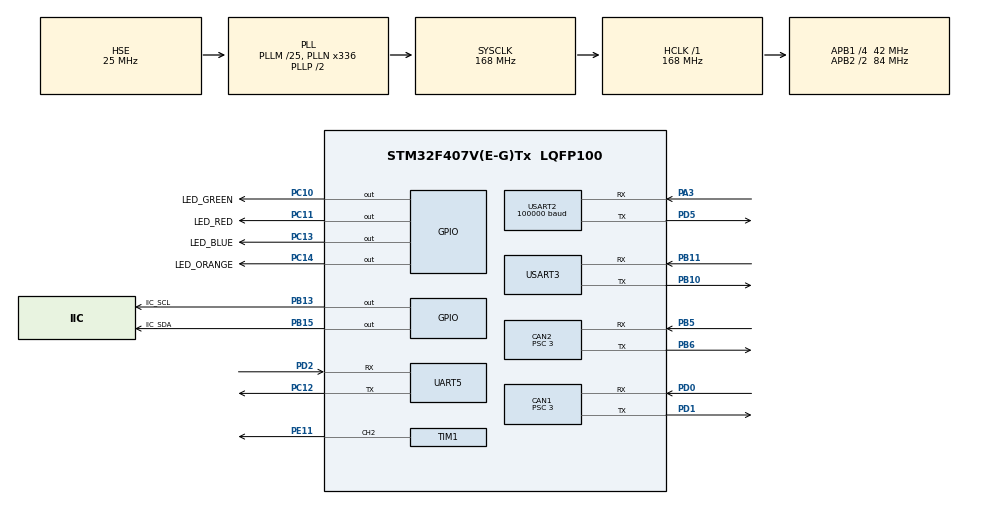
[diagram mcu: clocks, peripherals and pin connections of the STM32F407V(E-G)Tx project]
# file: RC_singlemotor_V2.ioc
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CAN1.BS1=CAN_BS1_9TQ
CAN1.BS2=CAN_BS2_4TQ
CAN1.CalculateBaudRate=1000000
CAN1.CalculateTimeBit=999.99
CAN1.CalculateTimeQuantum=71.42857142857143
CAN1.Prescaler=3
CAN1.TXFP=ENABLE
CAN2.BS1=CAN_BS1_9TQ
CAN2.BS2=CAN_BS2_4TQ
CAN2.CalculateBaudRate=1000000
CAN2.CalculateTimeBit=999.99
CAN2.CalculateTimeQuantum=71.42857142857143
CAN2.Prescaler=3
CAN2.SJW=CAN_SJW_1TQ
CAN2.TXFP=ENABLE
Dma.Request0=USART2_RX
Dma.Request1=UART5_RX
Dma.Request2=UART5_TX
Dma.UART5_RX.1.Direction=DMA_PERIPH_TO_MEMORY
Dma.UART5_RX.1.FIFOMode=DMA_FIFOMODE_DISABLE
Dma.UART5_RX.1.Instance=DMA1_Stream0
Dma.UART5_RX.1.MemDataAlignment=DMA_MDATAALIGN_BYTE
Dma.UART5_RX.1.MemInc=DMA_MINC_ENABLE
Dma.UART5_RX.1.Mode=DMA_CIRCULAR
Dma.UART5_RX.1.PeriphDataAlignment=DMA_PDATAALIGN_BYTE
Dma.UART5_RX.1.PeriphInc=DMA_PINC_DISABLE
Dma.UART5_RX.1.Priority=DMA_PRIORITY_LOW
Dma.UART5_TX.2.Direction=DMA_MEMORY_TO_PERIPH
Dma.UART5_TX.2.FIFOMode=DMA_FIFOMODE_DISABLE
Dma.UART5_TX.2.Instance=DMA1_Stream7
Dma.UART5_TX.2.MemDataAlignment=DMA_MDATAALIGN_BYTE
Dma.UART5_TX.2.MemInc=DMA_MINC_ENABLE
Dma.UART5_TX.2.Mode=DMA_CIRCULAR
Dma.UART5_TX.2.PeriphDataAlignment=DMA_PDATAALIGN_BYTE
Dma.UART5_TX.2.PeriphInc=DMA_PINC_DISABLE
Dma.UART5_TX.2.Priority=DMA_PRIORITY_LOW
Dma.USART2_RX.0.Direction=DMA_PERIPH_TO_MEMORY
Dma.USART2_RX.0.FIFOMode=DMA_FIFOMODE_DISABLE
Dma.USART2_RX.0.Instance=DMA1_Stream5
Dma.USART2_RX.0.MemDataAlignment=DMA_MDATAALIGN_BYTE
Dma.USART2_RX.0.MemInc=DMA_MINC_ENABLE
Dma.USART2_RX.0.Mode=DMA_CIRCULAR
Dma.USART2_RX.0.PeriphDataAlignment=DMA_PDATAALIGN_BYTE
Dma.USART2_RX.0.PeriphInc=DMA_PINC_DISABLE
Dma.USART2_RX.0.Priority=DMA_PRIORITY_VERY_HIGH
FREERTOS.Tasks01=defaultTask,24,512,StartDefaultTask,Default,NULL,Dynamic,NULL,NULL;LED,8,512,LED_Task,Default,NULL,Dynamic,NULL,NULL;heart_beat,32,512,heart_beat_task,Default,NULL,Dynamic,NULL,NULL;rc_control,32,3072,rc_control_task,Default,NULL,Dynamic,NULL,NULL
FREERTOS.configTOTAL_HEAP_SIZE=32000
Mcu.Family=STM32F4
Mcu.Name=STM32F407V(E-G)Tx
Mcu.Package=LQFP100
NVIC.CAN1_RX0_IRQn=true\:5\:0\:true\:false\:true\:false\:true\:true
NVIC.CAN2_RX0_IRQn=true\:5\:0\:true\:false\:true\:false\:true\:true
NVIC.DMA1_Stream0_IRQn=true\:5\:0\:false\:false\:true\:true\:false\:true
NVIC.DMA1_Stream5_IRQn=true\:5\:0\:true\:false\:true\:false\:false\:true
NVIC.DMA1_Stream7_IRQn=true\:5\:0\:false\:false\:true\:true\:false\:true
NVIC.PriorityGroup=NVIC_PRIORITYGROUP_4
NVIC.TIM2_IRQn=true\:0\:0\:false\:false\:true\:false\:false\:true
NVIC.TimeBase=TIM2_IRQn
NVIC.TimeBaseIP=TIM2
NVIC.UART5_IRQn=true\:5\:0\:false\:false\:true\:true\:true\:true
NVIC.USART2_IRQn=true\:5\:0\:true\:false\:true\:false\:true\:true
PA13.Mode=Serial_Wire
PA13.Signal=SYS_JTMS-SWDIO
PA14.Mode=Serial_Wire
PA14.Signal=SYS_JTCK-SWCLK
PA3.Mode=Asynchronous
PA3.Signal=USART2_RX
PB10.Mode=Asynchronous
PB10.Signal=USART3_TX
PB11.Mode=Asynchronous
PB11.Signal=USART3_RX
PB13.GPIO_Label=IIC_SCL
PB13.GPIO_Speed=GPIO_SPEED_FREQ_VERY_HIGH
PB13.PinState=GPIO_PIN_SET
PB13.Signal=GPIO_Output
PB15.GPIO_Label=IIC_SDA
PB15.GPIO_Speed=GPIO_SPEED_FREQ_VERY_HIGH
PB15.PinState=GPIO_PIN_SET
PB15.Signal=GPIO_Output
PB5.Mode=CAN_Activate
PB5.Signal=CAN2_RX
PB6.Mode=CAN_Activate
PB6.Signal=CAN2_TX
PC10.GPIO_Label=LED_GREEN
PC10.GPIO_Speed=GPIO_SPEED_FREQ_LOW
PC10.PinState=GPIO_PIN_SET
PC10.Signal=GPIO_Output
PC11.GPIO_Label=LED_RED
PC11.GPIO_Speed=GPIO_SPEED_FREQ_VERY_HIGH
PC11.PinState=GPIO_PIN_SET
PC11.Signal=GPIO_Output
PC12.Mode=Asynchronous
PC12.Signal=UART5_TX
PC13-ANTI_TAMP.GPIO_Label=LED_BLUE
PC13-ANTI_TAMP.PinState=GPIO_PIN_SET
PC13-ANTI_TAMP.Signal=GPIO_Output
PC14-OSC32_IN.GPIO_Label=LED_ORANGE
PC14-OSC32_IN.PinState=GPIO_PIN_SET
PC14-OSC32_IN.Signal=GPIO_Output
PD0.Mode=CAN_Activate
PD0.Signal=CAN1_RX
PD1.Mode=CAN_Activate
PD1.Signal=CAN1_TX
PD2.Mode=Asynchronous
PD2.Signal=UART5_RX
PD5.Mode=Asynchronous
PD5.Signal=USART2_TX
PE11.Signal=S_TIM1_CH2
PH0-OSC_IN.Mode=HSE-External-Oscillator
PH0-OSC_IN.Signal=RCC_OSC_IN
PH1-OSC_OUT.Mode=HSE-External-Oscillator
PH1-OSC_OUT.Signal=RCC_OSC_OUT
ProjectManager.HeapSize=0x200
ProjectManager.StackSize=0x400
ProjectManager.TargetToolchain=MDK-ARM V5.27
RCC.48MHZClocksFreq_Value=84000000
RCC.AHBFreq_Value=168000000
RCC.APB1CLKDivider=RCC_HCLK_DIV4
RCC.APB1Freq_Value=42000000
RCC.APB1TimFreq_Value=84000000
RCC.APB2CLKDivider=RCC_HCLK_DIV2
RCC.APB2Freq_Value=84000000
RCC.APB2TimFreq_Value=168000000
RCC.CortexFreq_Value=168000000
RCC.HCLKFreq_Value=168000000
RCC.HSE_VALUE=25000000
RCC.HSI_VALUE=16000000
RCC.LSE_VALUE=32768
RCC.PLLM=25
RCC.PLLN=336
RCC.PLLSourceVirtual=RCC_PLLSOURCE_HSE
RCC.SYSCLKFreq_VALUE=168000000
RCC.SYSCLKSource=RCC_SYSCLKSOURCE_PLLCLK
RCC.VCOOutputFreq_Value=336000000
SH.S_TIM1_CH2.0=TIM1_CH2,PWM Generation2 CH2
TIM1.AutoReloadPreload=TIM_AUTORELOAD_PRELOAD_ENABLE
TIM1.Channel-PWM\ Generation2\ CH2=TIM_CHANNEL_2
TIM1.Period=20000-1
TIM1.Prescaler=168-1
UART5.VirtualMode=Asynchronous
USART2.BaudRate=100000
USART2.VirtualMode=VM_ASYNC
USART3.VirtualMode=VM_ASYNC
VP_FREERTOS_VS_CMSIS_V2.Mode=CMSIS_V2
VP_SYS_VS_tim2.Mode=TIM2
VP_TIM1_VS_ClockSourceINT.Mode=Internal
board=custom

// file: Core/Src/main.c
/* USER CODE BEGIN Header */
/**
  ******************************************************************************
  * @file           : main.c
  * @brief          : Main program body
  ******************************************************************************
  * @attention
  *
  * <h2><center>&copy; Copyright (c) 2021 STMicroelectronics.
  * All rights reserved.</center></h2>
  *
  * This software component is licensed by ST under Ultimate Liberty license
  * SLA0044, the "License"; You may not use this file except in compliance with
  * the License. You may obtain a copy of the License at:
  *                             www.st.com/SLA0044
  *
  ******************************************************************************
  */
/* USER CODE END Header */
#include "main.h"
#include "cmsis_os.h"
#include "can.h"
#include "dma.h"
#include "tim.h"
#include "usart.h"
#include "gpio.h"

/* USER CODE BEGIN Includes */
#include "pid.h"
#include "rc.h"
#include "motor.h"
#include "bmi.h"
#include "bmi2.h"
#include "judge_sensor.h"
#include "flash.h"
/* USER CODE END Includes */

void SystemClock_Config(void);
void MX_FREERTOS_Init(void);

int main(void)
{

  /* MCU Configuration--------------------------------------------------------*/

  /* Reset of all peripherals, Initializes the Flash interface and the Systick. */
  HAL_Init();

  /* Configure the system clock */
  SystemClock_Config();

  /* Initialize all configured peripherals */
  MX_GPIO_Init();
  MX_DMA_Init();
  MX_USART2_UART_Init();
  MX_CAN1_Init();
  MX_CAN2_Init();
  MX_TIM1_Init();
  MX_UART5_Init();
  MX_USART3_UART_Init();
  /* USER CODE BEGIN 2 */
    CAN1_Init();
    CAN2_Init();
    USART2_Init();
    USART5_Init();
    HAL_TIM_PWM_Start(&htim1,TIM_CHANNEL_2);
    rc_sensor.init(&rc_sensor);
    judge_sensor.init(&judge_sensor);
    Flash_Init();
    HAL_Delay(500);
//    while(BMI_Init() != BMI2_OK);
  /* USER CODE END 2 */

  /* Init scheduler */
  osKernelInitialize();  /* Call init function for freertos objects (in freertos.c) */
  MX_FREERTOS_Init();
  /* Start scheduler */
  osKernelStart();

  /* We should never get here as control is now taken by the scheduler */
  /* Infinite loop */
  while (1)
  {

  }
}

void SystemClock_Config(void)
{
  RCC_OscInitTypeDef RCC_OscInitStruct = {0};
  RCC_ClkInitTypeDef RCC_ClkInitStruct = {0};

  /** Configure the main internal regulator output voltage
  */
  __HAL_RCC_PWR_CLK_ENABLE();
  __HAL_PWR_VOLTAGESCALING_CONFIG(PWR_REGULATOR_VOLTAGE_SCALE1);
  /** Initializes the RCC Oscillators according to the specified parameters
  * in the RCC_OscInitTypeDef structure.
  */
  RCC_OscInitStruct.OscillatorType = RCC_OSCILLATORTYPE_HSE;
  RCC_OscInitStruct.HSEState = RCC_HSE_ON;
  RCC_OscInitStruct.PLL.PLLState = RCC_PLL_ON;
  RCC_OscInitStruct.PLL.PLLSource = RCC_PLLSOURCE_HSE;
  RCC_OscInitStruct.PLL.PLLM = 25;
  RCC_OscInitStruct.PLL.PLLN = 336;
  RCC_OscInitStruct.PLL.PLLP = RCC_PLLP_DIV2;
  RCC_OscInitStruct.PLL.PLLQ = 4;
  if (HAL_RCC_OscConfig(&RCC_OscInitStruct) != HAL_OK)
  {
    Error_Handler();
  }
  /** Initializes the CPU, AHB and APB buses clocks
  */
  RCC_ClkInitStruct.ClockType = RCC_CLOCKTYPE_HCLK|RCC_CLOCKTYPE_SYSCLK
                              |RCC_CLOCKTYPE_PCLK1|RCC_CLOCKTYPE_PCLK2;
  RCC_ClkInitStruct.SYSCLKSource = RCC_SYSCLKSOURCE_PLLCLK;
  RCC_ClkInitStruct.AHBCLKDivider = RCC_SYSCLK_DIV1;
  RCC_ClkInitStruct.APB1CLKDivider = RCC_HCLK_DIV4;
  RCC_ClkInitStruct.APB2CLKDivider = RCC_HCLK_DIV2;

  if (HAL_RCC_ClockConfig(&RCC_ClkInitStruct, FLASH_LATENCY_5) != HAL_OK)
  {
    Error_Handler();
  }
}

void HAL_TIM_PeriodElapsedCallback(TIM_HandleTypeDef *htim)
{
  if (htim->Instance == TIM2) {
    HAL_IncTick();
  }
}

void Error_Handler(void)
{
}

/************************ (C) COPYRIGHT STMicroelectronics *****END OF FILE****/

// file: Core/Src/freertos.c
/* USER CODE BEGIN Header */
/**
  ******************************************************************************
  * File Name          : freertos.c
  * Description        : Code for freertos applications
  ******************************************************************************
  * @attention
  *
  * <h2><center>&copy; Copyright (c) 2021 STMicroelectronics.
  * All rights reserved.</center></h2>
  *
  * This software component is licensed by ST under Ultimate Liberty license
  * SLA0044, the "License"; You may not use this file except in compliance with
  * the License. You may obtain a copy of the License at:
  *                             www.st.com/SLA0044
  *
  ******************************************************************************
  */
/* USER CODE END Header */

#include "FreeRTOS.h"
#include "task.h"
#include "main.h"
#include "cmsis_os.h"

/* USER CODE BEGIN Includes */
#include "can.h"
#include "pid.h"
#include "rc.h"
#include "motor.h"
#include "bmi_solve.h"
#include "judge_sensor.h"
/* USER CODE END Includes */

/* Definitions for defaultTask */
osThreadId_t defaultTaskHandle;
const osThreadAttr_t defaultTask_attributes = {
  .name = "defaultTask",
  .stack_size = 512 * 4,
  .priority = (osPriority_t) osPriorityNormal,
};
/* Definitions for LED */
osThreadId_t LEDHandle;
const osThreadAttr_t LED_attributes = {
  .name = "LED",
  .stack_size = 512 * 4,
  .priority = (osPriority_t) osPriorityLow,
};
/* Definitions for heart_beat */
osThreadId_t heart_beatHandle;
const osThreadAttr_t heart_beat_attributes = {
  .name = "heart_beat",
  .stack_size = 512 * 4,
  .priority = (osPriority_t) osPriorityAboveNormal,
};
/* Definitions for rc_control */
osThreadId_t rc_controlHandle;
const osThreadAttr_t rc_control_attributes = {
  .name = "rc_control",
  .stack_size = 3072 * 4,
  .priority = (osPriority_t) osPriorityAboveNormal,
};

void StartDefaultTask(void *argument);
void LED_Task(void *argument);
void heart_beat_task(void *argument);
void rc_control_task(void *argument);

void MX_FREERTOS_Init(void); /* (MISRA C 2004 rule 8.1) */

void MX_FREERTOS_Init(void) {

  /* Create the thread(s) */
  /* creation of defaultTask */
  defaultTaskHandle = osThreadNew(StartDefaultTask, NULL, &defaultTask_attributes);

  /* creation of LED */
  LEDHandle = osThreadNew(LED_Task, NULL, &LED_attributes);

  /* creation of heart_beat */
  heart_beatHandle = osThreadNew(heart_beat_task, NULL, &heart_beat_attributes);

  /* creation of rc_control */
  rc_controlHandle = osThreadNew(rc_control_task, NULL, &rc_control_attributes);

}

void StartDefaultTask(void *argument)
{
  for(;;)
  {
    osDelay(1);
  }
}

void LED_Task(void *argument)
{
  /* USER CODE BEGIN LED_Task */
  /* Infinite loop */
  for(;;)
  {
    led_program();
    osDelay(1);
  }
  /* USER CODE END LED_Task */
}

void heart_beat_task(void *argument)
{
  /* USER CODE BEGIN heart_beat_task */
  /* Infinite loop */
    for(;;)
    {
        rc_sensor.heart_beat(&rc_sensor);
        judge_sensor.heart_beat(&judge_sensor);
        motor[BELT_MID].heart_beat(&motor[BELT_MID]);
        motor[BELT_SIDE].heart_beat(&motor[BELT_SIDE]);
        motor[PUSH_TURN].heart_beat(&motor[PUSH_TURN]);
        motor[DART_WHEEL].heart_beat(&motor[DART_WHEEL]);
        motor[PITCH_M].heart_beat(&motor[PITCH_M]);
        motor[YAW_M].heart_beat(&motor[YAW_M]);
        motor[GIMBAL].heart_beat(&motor[GIMBAL]);
        osDelay(1);
    }
  /* USER CODE END heart_beat_task */
}

void rc_control_task(void *argument)
{
  /* USER CODE BEGIN rc_control_task */
  /* Infinite loop */
    for(;;)
    {
        rc_control();
        osDelay(1);
    }
  /* USER CODE END rc_control_task */
}

/************************ (C) COPYRIGHT STMicroelectronics *****END OF FILE****/
